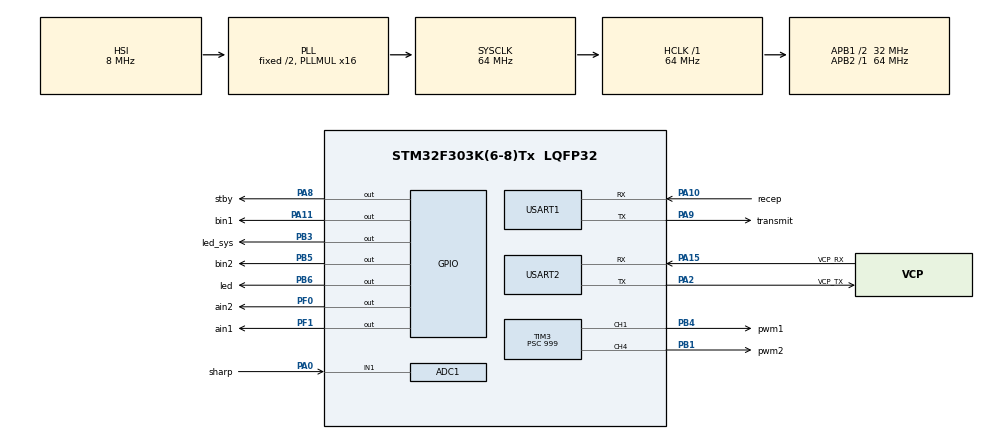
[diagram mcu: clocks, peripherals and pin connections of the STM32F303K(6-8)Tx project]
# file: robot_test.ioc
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ADC1.Channel-0\#ChannelRegularConversion=ADC_CHANNEL_1
ADC1.ClockPrescaler=ADC_CLOCK_ASYNC_DIV1
ADC1.ContinuousConvMode=DISABLE
ADC1.DMAContinuousRequests=DISABLE
ADC1.ExternalTrigConv=ADC_SOFTWARE_START
ADC1.NbrOfConversionFlag=1
ADC1.Offset-0\#ChannelRegularConversion=0
ADC1.OffsetNumber-0\#ChannelRegularConversion=ADC_OFFSET_NONE
ADC1.Rank-0\#ChannelRegularConversion=1
ADC1.SamplingTime-0\#ChannelRegularConversion=ADC_SAMPLETIME_7CYCLES_5
ADC1.SubFamily=STM32F303x8
ADC1.master=1
FREERTOS.Tasks01=defaultTask,0,128,StartDefaultTask,Default,NULL,Dynamic,NULL,NULL;motor_task,-3,256,motor,As weak,NULL,Dynamic,NULL,NULL;adc_dma_task,-3,256,adcControl,As weak,NULL,Dynamic,NULL,NULL;uart_task,-3,256,uart,As weak,NULL,Dynamic,NULL,NULL;IAtask,-3,512,ia,As weak,NULL,Dynamic,NULL,NULL
FREERTOS.configTOTAL_HEAP_SIZE=9216
Mcu.Family=STM32F3
Mcu.Name=STM32F303K(6-8)Tx
Mcu.Package=LQFP32
NVIC.ADC1_2_IRQn=true\:5\:0\:false\:false\:true\:true
NVIC.PriorityGroup=NVIC_PRIORITYGROUP_4
NVIC.TIM1_BRK_TIM15_IRQn=true\:0\:0\:false\:false\:true\:false
NVIC.TimeBase=TIM1_BRK_TIM15_IRQn
NVIC.TimeBaseIP=TIM15
PA0.GPIO_Label=sharp
PA0.Mode=IN1-Single-Ended
PA0.Signal=ADC1_IN1
PA10.GPIO_Label=recep
PA10.Mode=Asynchronous
PA10.Signal=USART1_RX
PA11.GPIO_Label=bin1
PA11.Signal=GPIO_Output
PA13.GPIO_Label=SWDIO
PA13.Signal=SYS_JTMS-SWDIO
PA14.GPIO_Label=SWCLK
PA14.Signal=SYS_JTCK-SWCLK
PA15.GPIO_Label=VCP_RX
PA15.Mode=Asynchronous
PA15.Signal=USART2_RX
PA2.GPIO_Label=VCP_TX
PA2.Mode=Asynchronous
PA2.Signal=USART2_TX
PA8.GPIO_Label=stby
PA8.Signal=GPIO_Output
PA9.GPIO_Label=transmit
PA9.Mode=Asynchronous
PA9.Signal=USART1_TX
PB1.GPIO_Label=pwm2
PB1.Signal=S_TIM3_CH4
PB3.GPIO_Label=led_sys
PB3.Signal=GPIO_Output
PB4.GPIO_Label=pwm1
PB4.Signal=S_TIM3_CH1
PB5.GPIO_Label=bin2
PB5.Signal=GPIO_Output
PB6.GPIO_Label=led
PB6.GPIO_ModeDefaultOutputPP=GPIO_MODE_OUTPUT_OD
PB6.Signal=GPIO_Output
PF0\ /\ OSC_IN.GPIO_Label=ain2
PF0\ /\ OSC_IN.Signal=GPIO_Output
PF1\ /\ OSC_OUT.GPIO_Label=ain1
PF1\ /\ OSC_OUT.Signal=GPIO_Output
ProjectManager.HeapSize=0x200
ProjectManager.StackSize=0x400
ProjectManager.TargetToolchain=Makefile
RCC.AHBFreq_Value=64000000
RCC.APB1CLKDivider=RCC_HCLK_DIV2
RCC.APB1Freq_Value=32000000
RCC.APB1TimFreq_Value=64000000
RCC.APB2Freq_Value=64000000
RCC.APB2TimFreq_Value=64000000
RCC.CortexFreq_Value=64000000
RCC.HCLKFreq_Value=64000000
RCC.HSE_VALUE=8000000
RCC.HSI_VALUE=8000000
RCC.PLLMUL=RCC_PLL_MUL16
RCC.SYSCLKFreq_VALUE=64000000
RCC.SYSCLKSourceVirtual=RCC_SYSCLKSOURCE_PLLCLK
SH.S_TIM3_CH1.0=TIM3_CH1,PWM Generation1 CH1
SH.S_TIM3_CH4.0=TIM3_CH4,PWM Generation4 CH4
TIM3.Channel-PWM\ Generation1\ CH1=TIM_CHANNEL_1
TIM3.Channel-PWM\ Generation4\ CH4=TIM_CHANNEL_4
TIM3.ClockDivision=TIM_CLOCKDIVISION_DIV1
TIM3.Period=639
TIM3.Prescaler=999
TIM3.Pulse-PWM\ Generation1\ CH1=319
TIM3.Pulse-PWM\ Generation4\ CH4=319
USART1.VirtualMode-Asynchronous=VM_ASYNC
USART2.VirtualMode-Asynchronous=VM_ASYNC
VP_FREERTOS_VS_ENABLE.Mode=Enabled
VP_SYS_VS_tim15.Mode=TIM15
board=NUCLEO-F303K8

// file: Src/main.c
/**
  ******************************************************************************
  * File Name          : main.c
  * Description        : Main program body
  ******************************************************************************
  * This notice applies to any and all portions of this file
  * that are not between comment pairs USER CODE BEGIN and
  * USER CODE END. Other portions of this file, whether
  * inserted by the user or by software development tools
  * are owned by their respective copyright owners.
  *
  * Copyright (c) 2017 STMicroelectronics International N.V.
  * All rights reserved.
  *
  * Redistribution and use in source and binary forms, with or without
  * modification, are permitted, provided that the following conditions are met:
  *
  * 1. Redistribution of source code must retain the above copyright notice,
  *    this list of conditions and the following disclaimer.
  * 2. Redistributions in binary form must reproduce the above copyright notice,
  *    this list of conditions and the following disclaimer in the documentation
  *    and/or other materials provided with the distribution.
  * 3. Neither the name of STMicroelectronics nor the names of other
  *    contributors to this software may be used to endorse or promote products
  *    derived from this software without specific written permission.
  * 4. This software, including modifications and/or derivative works of this
  *    software, must execute solely and exclusively on microcontroller or
  *    microprocessor devices manufactured by or for STMicroelectronics.
  * 5. Redistribution and use of this software other than as permitted under
  *    this license is void and will automatically terminate your rights under
  *    this license.
  *
  * THIS SOFTWARE IS PROVIDED BY STMICROELECTRONICS AND CONTRIBUTORS "AS IS"
  * AND ANY EXPRESS, IMPLIED OR STATUTORY WARRANTIES, INCLUDING, BUT NOT
  * LIMITED TO, THE IMPLIED WARRANTIES OF MERCHANTABILITY, FITNESS FOR A
  * PARTICULAR PURPOSE AND NON-INFRINGEMENT OF THIRD PARTY INTELLECTUAL PROPERTY
  * RIGHTS ARE DISCLAIMED TO THE FULLEST EXTENT PERMITTED BY LAW. IN NO EVENT
  * SHALL STMICROELECTRONICS OR CONTRIBUTORS BE LIABLE FOR ANY DIRECT, INDIRECT,
  * INCIDENTAL, SPECIAL, EXEMPLARY, OR CONSEQUENTIAL DAMAGES (INCLUDING, BUT NOT
  * LIMITED TO, PROCUREMENT OF SUBSTITUTE GOODS OR SERVICES; LOSS OF USE, DATA,
  * OR PROFITS; OR BUSINESS INTERRUPTION) HOWEVER CAUSED AND ON ANY THEORY OF
  * LIABILITY, WHETHER IN CONTRACT, STRICT LIABILITY, OR TORT (INCLUDING
  * NEGLIGENCE OR OTHERWISE) ARISING IN ANY WAY OUT OF THE USE OF THIS SOFTWARE,
  * EVEN IF ADVISED OF THE POSSIBILITY OF SUCH DAMAGE.
  *
  ******************************************************************************
  */
#include "main.h"
#include "stm32f3xx_hal.h"
#include "cmsis_os.h"

ADC_HandleTypeDef hadc1;

TIM_HandleTypeDef htim3;

UART_HandleTypeDef huart1;
UART_HandleTypeDef huart2;

osThreadId defaultTaskHandle;
osThreadId motor_taskHandle;
osThreadId adc_dma_taskHandle;
osThreadId uart_taskHandle;
osThreadId IAtaskHandle;

/* USER CODE BEGIN PV */
/* Private variables ---------------------------------------------------------*/

/* USER CODE END PV */

void SystemClock_Config(void);
static void MX_GPIO_Init(void);
static void MX_TIM3_Init(void);
static void MX_ADC1_Init(void);
static void MX_USART2_UART_Init(void);
static void MX_USART1_UART_Init(void);
void StartDefaultTask(void const * argument);
void motor(void const * argument);
void adcControl(void const * argument);
void uart(void const * argument);
void ia(void const * argument);

void HAL_TIM_MspPostInit(TIM_HandleTypeDef *htim);

/* USER CODE BEGIN PFP */
/* Private function prototypes -----------------------------------------------*/

/* USER CODE END PFP */

int main(void)
{

  /* MCU Configuration----------------------------------------------------------*/

  /* Reset of all peripherals, Initializes the Flash interface and the Systick. */
  HAL_Init();

  /* Configure the system clock */
  SystemClock_Config();

  /* Initialize all configured peripherals */
  MX_GPIO_Init();
  MX_TIM3_Init();
  MX_ADC1_Init();
  MX_USART2_UART_Init();
  MX_USART1_UART_Init();

  /* Create the thread(s) */
  /* definition and creation of defaultTask */
  osThreadDef(defaultTask, StartDefaultTask, osPriorityNormal, 0, 128);
  defaultTaskHandle = osThreadCreate(osThread(defaultTask), NULL);

  /* definition and creation of motor_task */
  osThreadDef(motor_task, motor, osPriorityIdle, 0, 256);
  motor_taskHandle = osThreadCreate(osThread(motor_task), NULL);

  /* definition and creation of adc_dma_task */
  osThreadDef(adc_dma_task, adcControl, osPriorityIdle, 0, 256);
  adc_dma_taskHandle = osThreadCreate(osThread(adc_dma_task), NULL);

  /* definition and creation of uart_task */
  osThreadDef(uart_task, uart, osPriorityIdle, 0, 256);
  uart_taskHandle = osThreadCreate(osThread(uart_task), NULL);

  /* definition and creation of IAtask */
  osThreadDef(IAtask, ia, osPriorityIdle, 0, 512);
  IAtaskHandle = osThreadCreate(osThread(IAtask), NULL);

  /* Start scheduler */
  osKernelStart();

  /* We should never get here as control is now taken by the scheduler */

  /* Infinite loop */
  while (1)
  {

  }

}

/** System Clock Configuration
*/
void SystemClock_Config(void)
{

  RCC_OscInitTypeDef RCC_OscInitStruct;
  RCC_ClkInitTypeDef RCC_ClkInitStruct;
  RCC_PeriphCLKInitTypeDef PeriphClkInit;

    /**Initializes the CPU, AHB and APB busses clocks
    */
  RCC_OscInitStruct.OscillatorType = RCC_OSCILLATORTYPE_HSI;
  RCC_OscInitStruct.HSIState = RCC_HSI_ON;
  RCC_OscInitStruct.HSICalibrationValue = 16;
  RCC_OscInitStruct.PLL.PLLState = RCC_PLL_ON;
  RCC_OscInitStruct.PLL.PLLSource = RCC_PLLSOURCE_HSI;
  RCC_OscInitStruct.PLL.PLLMUL = RCC_PLL_MUL16;
  if (HAL_RCC_OscConfig(&RCC_OscInitStruct) != HAL_OK)
  {
    _Error_Handler(__FILE__, __LINE__);
  }

    /**Initializes the CPU, AHB and APB busses clocks
    */
  RCC_ClkInitStruct.ClockType = RCC_CLOCKTYPE_HCLK|RCC_CLOCKTYPE_SYSCLK
                              |RCC_CLOCKTYPE_PCLK1|RCC_CLOCKTYPE_PCLK2;
  RCC_ClkInitStruct.SYSCLKSource = RCC_SYSCLKSOURCE_PLLCLK;
  RCC_ClkInitStruct.AHBCLKDivider = RCC_SYSCLK_DIV1;
  RCC_ClkInitStruct.APB1CLKDivider = RCC_HCLK_DIV2;
  RCC_ClkInitStruct.APB2CLKDivider = RCC_HCLK_DIV1;

  if (HAL_RCC_ClockConfig(&RCC_ClkInitStruct, FLASH_LATENCY_2) != HAL_OK)
  {
    _Error_Handler(__FILE__, __LINE__);
  }

  PeriphClkInit.PeriphClockSelection = RCC_PERIPHCLK_USART1|RCC_PERIPHCLK_ADC12;
  PeriphClkInit.Usart1ClockSelection = RCC_USART1CLKSOURCE_PCLK1;
  PeriphClkInit.Adc12ClockSelection = RCC_ADC12PLLCLK_DIV1;
  if (HAL_RCCEx_PeriphCLKConfig(&PeriphClkInit) != HAL_OK)
  {
    _Error_Handler(__FILE__, __LINE__);
  }

    /**Configure the Systick interrupt time
    */
  HAL_SYSTICK_Config(HAL_RCC_GetHCLKFreq()/1000);

    /**Configure the Systick
    */
  HAL_SYSTICK_CLKSourceConfig(SYSTICK_CLKSOURCE_HCLK);

  /* SysTick_IRQn interrupt configuration */
  HAL_NVIC_SetPriority(SysTick_IRQn, 15, 0);
}

/* ADC1 init function */
static void MX_ADC1_Init(void)
{

  ADC_MultiModeTypeDef multimode;
  ADC_ChannelConfTypeDef sConfig;

    /**Common config
    */
  hadc1.Instance = ADC1;
  hadc1.Init.ClockPrescaler = ADC_CLOCK_ASYNC_DIV1;
  hadc1.Init.Resolution = ADC_RESOLUTION_12B;
  hadc1.Init.ScanConvMode = ADC_SCAN_DISABLE;
  hadc1.Init.ContinuousConvMode = DISABLE;
  hadc1.Init.DiscontinuousConvMode = DISABLE;
  hadc1.Init.ExternalTrigConvEdge = ADC_EXTERNALTRIGCONVEDGE_NONE;
  hadc1.Init.ExternalTrigConv = ADC_SOFTWARE_START;
  hadc1.Init.DataAlign = ADC_DATAALIGN_RIGHT;
  hadc1.Init.NbrOfConversion = 1;
  hadc1.Init.DMAContinuousRequests = DISABLE;
  hadc1.Init.EOCSelection = ADC_EOC_SINGLE_CONV;
  hadc1.Init.LowPowerAutoWait = DISABLE;
  hadc1.Init.Overrun = ADC_OVR_DATA_OVERWRITTEN;
  if (HAL_ADC_Init(&hadc1) != HAL_OK)
  {
    _Error_Handler(__FILE__, __LINE__);
  }

    /**Configure the ADC multi-mode
    */
  multimode.Mode = ADC_MODE_INDEPENDENT;
  if (HAL_ADCEx_MultiModeConfigChannel(&hadc1, &multimode) != HAL_OK)
  {
    _Error_Handler(__FILE__, __LINE__);
  }

    /**Configure Regular Channel
    */
  sConfig.Channel = ADC_CHANNEL_1;
  sConfig.Rank = 1;
  sConfig.SingleDiff = ADC_SINGLE_ENDED;
  sConfig.SamplingTime = ADC_SAMPLETIME_7CYCLES_5;
  sConfig.OffsetNumber = ADC_OFFSET_NONE;
  sConfig.Offset = 0;
  if (HAL_ADC_ConfigChannel(&hadc1, &sConfig) != HAL_OK)
  {
    _Error_Handler(__FILE__, __LINE__);
  }

}

/* TIM3 init function */
static void MX_TIM3_Init(void)
{

  TIM_MasterConfigTypeDef sMasterConfig;
  TIM_OC_InitTypeDef sConfigOC;

  htim3.Instance = TIM3;
  htim3.Init.Prescaler = 999;
  htim3.Init.CounterMode = TIM_COUNTERMODE_UP;
  htim3.Init.Period = 639;
  htim3.Init.ClockDivision = TIM_CLOCKDIVISION_DIV1;
  htim3.Init.AutoReloadPreload = TIM_AUTORELOAD_PRELOAD_DISABLE;
  if (HAL_TIM_PWM_Init(&htim3) != HAL_OK)
  {
    _Error_Handler(__FILE__, __LINE__);
  }

  sMasterConfig.MasterOutputTrigger = TIM_TRGO_RESET;
  sMasterConfig.MasterSlaveMode = TIM_MASTERSLAVEMODE_DISABLE;
  if (HAL_TIMEx_MasterConfigSynchronization(&htim3, &sMasterConfig) != HAL_OK)
  {
    _Error_Handler(__FILE__, __LINE__);
  }

  sConfigOC.OCMode = TIM_OCMODE_PWM1;
  sConfigOC.Pulse = 319;
  sConfigOC.OCPolarity = TIM_OCPOLARITY_HIGH;
  sConfigOC.OCFastMode = TIM_OCFAST_DISABLE;
  if (HAL_TIM_PWM_ConfigChannel(&htim3, &sConfigOC, TIM_CHANNEL_1) != HAL_OK)
  {
    _Error_Handler(__FILE__, __LINE__);
  }

  if (HAL_TIM_PWM_ConfigChannel(&htim3, &sConfigOC, TIM_CHANNEL_4) != HAL_OK)
  {
    _Error_Handler(__FILE__, __LINE__);
  }

  HAL_TIM_MspPostInit(&htim3);

}

/* USART1 init function */
static void MX_USART1_UART_Init(void)
{

  huart1.Instance = USART1;
  huart1.Init.BaudRate = 38400;
  huart1.Init.WordLength = UART_WORDLENGTH_7B;
  huart1.Init.StopBits = UART_STOPBITS_1;
  huart1.Init.Parity = UART_PARITY_NONE;
  huart1.Init.Mode = UART_MODE_TX_RX;
  huart1.Init.HwFlowCtl = UART_HWCONTROL_NONE;
  huart1.Init.OverSampling = UART_OVERSAMPLING_16;
  huart1.Init.OneBitSampling = UART_ONE_BIT_SAMPLE_DISABLE;
  huart1.AdvancedInit.AdvFeatureInit = UART_ADVFEATURE_NO_INIT;
  if (HAL_UART_Init(&huart1) != HAL_OK)
  {
    _Error_Handler(__FILE__, __LINE__);
  }

}

/* USART2 init function */
static void MX_USART2_UART_Init(void)
{

  huart2.Instance = USART2;
  huart2.Init.BaudRate = 38400;
  huart2.Init.StopBits = UART_STOPBITS_1;
  huart2.Init.Parity = UART_PARITY_NONE;
  huart2.Init.Mode = UART_MODE_TX_RX;
  huart2.Init.HwFlowCtl = UART_HWCONTROL_NONE;
  huart2.Init.OverSampling = UART_OVERSAMPLING_16;
  huart2.Init.OneBitSampling = UART_ONE_BIT_SAMPLE_DISABLE;
  huart2.AdvancedInit.AdvFeatureInit = UART_ADVFEATURE_NO_INIT;
  if (HAL_UART_Init(&huart2) != HAL_OK)
  {
    _Error_Handler(__FILE__, __LINE__);
  }

}

/** Configure pins as
        * Analog
        * Input
        * Output
        * EVENT_OUT
        * EXTI
*/
static void MX_GPIO_Init(void)
{

  GPIO_InitTypeDef GPIO_InitStruct;

  /* GPIO Ports Clock Enable */
  __HAL_RCC_GPIOF_CLK_ENABLE();
  __HAL_RCC_GPIOA_CLK_ENABLE();
  __HAL_RCC_GPIOB_CLK_ENABLE();

  /*Configure GPIO pin Output Level */
  HAL_GPIO_WritePin(GPIOF, ain2_Pin|ain1_Pin, GPIO_PIN_RESET);

  /*Configure GPIO pin Output Level */
  HAL_GPIO_WritePin(GPIOA, stby_Pin|bin1_Pin, GPIO_PIN_RESET);

  /*Configure GPIO pin Output Level */
  HAL_GPIO_WritePin(GPIOB, led_sys_Pin|bin2_Pin|led_Pin, GPIO_PIN_RESET);

  /*Configure GPIO pins : ain2_Pin ain1_Pin */
  GPIO_InitStruct.Pin = ain2_Pin|ain1_Pin;
  GPIO_InitStruct.Mode = GPIO_MODE_OUTPUT_PP;
  GPIO_InitStruct.Pull = GPIO_NOPULL;
  GPIO_InitStruct.Speed = GPIO_SPEED_FREQ_LOW;
  HAL_GPIO_Init(GPIOF, &GPIO_InitStruct);

  /*Configure GPIO pins : stby_Pin bin1_Pin */
  GPIO_InitStruct.Pin = stby_Pin|bin1_Pin;
  GPIO_InitStruct.Mode = GPIO_MODE_OUTPUT_PP;
  GPIO_InitStruct.Pull = GPIO_NOPULL;
  GPIO_InitStruct.Speed = GPIO_SPEED_FREQ_LOW;
  HAL_GPIO_Init(GPIOA, &GPIO_InitStruct);

  /*Configure GPIO pins : led_sys_Pin bin2_Pin */
  GPIO_InitStruct.Pin = led_sys_Pin|bin2_Pin;
  GPIO_InitStruct.Mode = GPIO_MODE_OUTPUT_PP;
  GPIO_InitStruct.Pull = GPIO_NOPULL;
  GPIO_InitStruct.Speed = GPIO_SPEED_FREQ_LOW;
  HAL_GPIO_Init(GPIOB, &GPIO_InitStruct);

  /*Configure GPIO pin : led_Pin */
  GPIO_InitStruct.Pin = led_Pin;
  GPIO_InitStruct.Mode = GPIO_MODE_OUTPUT_OD;
  GPIO_InitStruct.Pull = GPIO_NOPULL;
  GPIO_InitStruct.Speed = GPIO_SPEED_FREQ_LOW;
  HAL_GPIO_Init(led_GPIO_Port, &GPIO_InitStruct);

}

/* StartDefaultTask function */
void StartDefaultTask(void const * argument)
{

  /* USER CODE BEGIN 5 */
  /* Infinite loop */
  for(;;)
  {
    HAL_GPIO_TogglePin(led_sys_GPIO_Port, led_sys_Pin);
    osDelay(1000);
  }
  /* USER CODE END 5 */
}

/* motor function */
__weak void motor(void const * argument)
{
  for(;;)
  {
    osDelay(1);
  }
}

/* adcControl function */
__weak void adcControl(void const * argument)
{
  for(;;)
  {
    osDelay(1);
  }
}

/* uart function */
__weak void uart(void const * argument)
{
  for(;;)
  {
    osDelay(1);
  }
}

/* ia function */
__weak void ia(void const * argument)
{
  for(;;)
  {
    osDelay(1);
  }
}

void HAL_TIM_PeriodElapsedCallback(TIM_HandleTypeDef *htim)
{
  if (htim->Instance == TIM15) {
    HAL_IncTick();
  }
}

void _Error_Handler(char * file, int line)
{
  while(1)
  {
  }
}

/************************ (C) COPYRIGHT STMicroelectronics *****END OF FILE****/

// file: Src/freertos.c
/**
  ******************************************************************************
  * File Name          : freertos.c
  * Description        : Code for freertos applications
  ******************************************************************************
  * This notice applies to any and all portions of this file
  * that are not between comment pairs USER CODE BEGIN and
  * USER CODE END. Other portions of this file, whether
  * inserted by the user or by software development tools
  * are owned by their respective copyright owners.
  *
  * Copyright (c) 2017 STMicroelectronics International N.V.
  * All rights reserved.
  *
  * Redistribution and use in source and binary forms, with or without
  * modification, are permitted, provided that the following conditions are met:
  *
  * 1. Redistribution of source code must retain the above copyright notice,
  *    this list of conditions and the following disclaimer.
  * 2. Redistributions in binary form must reproduce the above copyright notice,
  *    this list of conditions and the following disclaimer in the documentation
  *    and/or other materials provided with the distribution.
  * 3. Neither the name of STMicroelectronics nor the names of other
  *    contributors to this software may be used to endorse or promote products
  *    derived from this software without specific written permission.
  * 4. This software, including modifications and/or derivative works of this
  *    software, must execute solely and exclusively on microcontroller or
  *    microprocessor devices manufactured by or for STMicroelectronics.
  * 5. Redistribution and use of this software other than as permitted under
  *    this license is void and will automatically terminate your rights under
  *    this license.
  *
  * THIS SOFTWARE IS PROVIDED BY STMICROELECTRONICS AND CONTRIBUTORS "AS IS"
  * AND ANY EXPRESS, IMPLIED OR STATUTORY WARRANTIES, INCLUDING, BUT NOT
  * LIMITED TO, THE IMPLIED WARRANTIES OF MERCHANTABILITY, FITNESS FOR A
  * PARTICULAR PURPOSE AND NON-INFRINGEMENT OF THIRD PARTY INTELLECTUAL PROPERTY
  * RIGHTS ARE DISCLAIMED TO THE FULLEST EXTENT PERMITTED BY LAW. IN NO EVENT
  * SHALL STMICROELECTRONICS OR CONTRIBUTORS BE LIABLE FOR ANY DIRECT, INDIRECT,
  * INCIDENTAL, SPECIAL, EXEMPLARY, OR CONSEQUENTIAL DAMAGES (INCLUDING, BUT NOT
  * LIMITED TO, PROCUREMENT OF SUBSTITUTE GOODS OR SERVICES; LOSS OF USE, DATA,
  * OR PROFITS; OR BUSINESS INTERRUPTION) HOWEVER CAUSED AND ON ANY THEORY OF
  * LIABILITY, WHETHER IN CONTRACT, STRICT LIABILITY, OR TORT (INCLUDING
  * NEGLIGENCE OR OTHERWISE) ARISING IN ANY WAY OUT OF THE USE OF THIS SOFTWARE,
  * EVEN IF ADVISED OF THE POSSIBILITY OF SUCH DAMAGE.
  *
  ******************************************************************************
  */

/**
 * *********************************************************************
 * Auteurs : Daphné Porteries, Victor Cazaux et Thibault Vernay
 * Date de création : 12 juin 2017
 * Date de dernière modification : 25 juin 2017
 * *********************************************************************
 */

#include "FreeRTOS.h"
#include "task.h"

/* USER CODE BEGIN Includes */
#include "cmsis_os.h"
#include "main.h"
#include "stm32f3xx_hal.h"

#include <time.h>
#include <stdlib.h>

#define PWM_MAX 320
#define DELAY 1000
#define OK 0x06
/* USER CODE END Includes */

/* USER CODE BEGIN Variables */
extern TIM_HandleTypeDef htim3;
extern ADC_HandleTypeDef hadc1;
extern UART_HandleTypeDef huart2;
extern UART_HandleTypeDef huart1;

int flag_adc = 0;
uint32_t adcValue = 0;

int flag_deplacement_fini = 0;
int flag_rotation_finie =0;

int flag_haut = 0;
int flag_bas = 0;
int flag_droite = 0;
int flag_gauche = 0;
int flag_distance = 0;
int flag_cap =0;
int flag_present = 0;

struct Robot {
    int posx;
    int posy;
    int orientation;
};

struct Robot robot1, robot2; // Nous sommes robot1 et l'autre robot est  robot2

/* USER CODE END Variables */

/* USER CODE BEGIN FunctionPrototypes */

/* BEGIN Fonctions pour les moteurs */

/* Cette fonction permet d'allumer le moteur gauche. Elle prend en argument la variable sens qui est à 1 quand
 * le moteur avance et à 0 quand celui-ci recule. Voir la datasheet du driver moteur pour les valeurs de ain1
 * et ain2 */
void alumer_gauche(int sens) {
    HAL_GPIO_WritePin(ain1_GPIO_Port, ain1_Pin, sens);
    HAL_GPIO_WritePin(ain2_GPIO_Port, ain2_Pin, !sens);
}

/* Cette fonction permet d'allumer le moteur droit. Elle prend en argument la variable sens qui est à 1 quand
 * le moteur avance et à 0 quand celui-ci recule. Voir la datasheet du driver moteur pour les valeurs de ain1
 * et ain2 */
void alumer_droite(int sens) {
    HAL_GPIO_WritePin(bin1_GPIO_Port, bin1_Pin, sens);
    HAL_GPIO_WritePin(bin2_GPIO_Port, bin2_Pin, !sens);
}

/* Cette fonction permet d'éteindre le moteur gauche. */
void eteindre_gauche() {
    HAL_GPIO_WritePin(ain1_GPIO_Port, ain1_Pin, 0);
    HAL_GPIO_WritePin(ain2_GPIO_Port, ain2_Pin, 0);
}

/* Cette fonction permet d'éteindre le moteur droit. */
void eteindre_droite() {
    HAL_GPIO_WritePin(bin1_GPIO_Port, bin1_Pin, 0);
    HAL_GPIO_WritePin(bin2_GPIO_Port, bin2_Pin, 0);
}

/* Cette fonction permet de mettre au max décidé dans l'entête la valeur du rapport PWM. Elle fait appel à des
 * fonctions de la HAL qui permettent de changer la valeur du CCR pour le timer3. */
void pwm_max() {
    __HAL_TIM_SET_COMPARE(&htim3, TIM_CHANNEL_1, PWM_MAX);
    __HAL_TIM_SET_COMPARE(&htim3, TIM_CHANNEL_4, PWM_MAX);
}

/* Cette fonction permet de changer la valeur du CCR du timer3 pour changer le rapport du PWM avec une temporisation
 * pour le faire s'incrémenter jusqu'à la valeur finale définie dans l'entête du fichier. */
void accelerer() {
    int pwm = 0;
    while (pwm != PWM_MAX) {
        __HAL_TIM_SET_COMPARE(&htim3, TIM_CHANNEL_1, pwm);
        __HAL_TIM_SET_COMPARE(&htim3, TIM_CHANNEL_4, pwm);
        pwm += 20;
        osDelay(50);
    }
}

/* Cette fonction permet de changer la valeur du CCR du timer3 pour changer le rapport du PWM avec une temporisation
 * pour le faire se décrémenter jusqu'à 0 et provoquer l'arrêt du moteur. */
void deccelerer() {
    int pwm = PWM_MAX;
    while (pwm != 0) {
        __HAL_TIM_SET_COMPARE(&htim3, TIM_CHANNEL_1, pwm);
        __HAL_TIM_SET_COMPARE(&htim3, TIM_CHANNEL_4, pwm);
        pwm -= 20;
        osDelay(50);
    }
}

/* Cette fonction permet d'avancer de 15 cm. Les paramètres de temporisation sont différents selons les robots. Elle
 * utilise les fonctions allumer et éteindre ainsi que les fonctions d'accélérations et de décélération avant d'éteindre
 * les moteurs. */
void avancer_robot() {
    // sens est à 1 pour avancer
    alumer_droite(1);
    alumer_gauche(1);
    accelerer();
    osDelay(470); // robot2 : 470 robot1 : 850
    deccelerer();
    eteindre_droite();
    eteindre_gauche();
}

/* Cette fonction permet de reculer de 15 cm. Les paramètres de temporisation sont différents selons les robots. Elle
 * utilise les fonctions allumer et éteindre ainsi que les fonctions d'accélérations et de décélération avant d'éteindre
 * les moteurs. */
void reculer_robot() {
    // sens est à 0 pour reculer
    alumer_droite(0);
    alumer_gauche(0);
    accelerer();
    osDelay(470); // robot2 : 470 robot1 : 850
    deccelerer();
    eteindre_droite();
    eteindre_gauche();
}

/* Cette fonction permet de pivoter à gauche de 90°. Les temporisation changent d'un robot à l'autre et ici on met le
 * rapport du PWM au max avant d'effectuer la routine, de décélérer et de le remettre à 0 avant d'éteindre les moteurs. */
void pivoter_gauche() {
    pwm_max();
    alumer_gauche(1);
    alumer_droite(0);
    osDelay(40); // robot2 : 40 robot1 : 130
    deccelerer();
    eteindre_droite();
    eteindre_gauche();
}

/* Cette fonction permet de pivoter à droite de 90°. Les temporisation changent d'un robot à l'autre et ici on met le
 * rapport du PWM au max avant d'effectuer la routine, de décélérer et de le remettre à 0 avant d'éteindre les moteurs. */
void pivoter_droite() {
    pwm_max();
    alumer_droite(1);
    alumer_gauche(0);
    osDelay(40); // robot2 : 40 robot1 : 130
    deccelerer();
    eteindre_droite();
    eteindre_gauche();
}

/* Cette fonction permet en fonction de la valeur des indicateurs d'état flag_cap et flag_distance de définir les déplacements
 * à effectuer et de décrémenter cette valeur. Elle permet également quand tous les déplacements et changements de cap sont finis
 * de mettre l'indicateur d'état flag_deplacement_fini à 1. */
void gestion_moteurs() {
    if (flag_distance > 0) {
      avancer_robot();
      flag_distance --;
    }
    if (flag_distance < 0) {
      reculer_robot();
      flag_distance ++;
    }
    if(flag_distance == 0){
      flag_deplacement_fini = 1;
    }
    if (flag_cap > 0) {
      pivoter_droite();
      flag_cap --;
    }
    if (flag_cap < 0) {
      pivoter_gauche();
      flag_cap ++;
    }
    if(flag_cap == 0){
      flag_rotation_finie = 1;
    }
}

/* END Fonctions pour les moteurs */

/* BEGIN Fonctions ADC */

/* Cette fonction est la fonction d'interruption de l'ADC, elle permet de mettre l'indicateur
 * d'état flag_adc à 1 et à récupérer la valeur de l'ADC */
void HAL_ADC_ConvCpltCallback(ADC_HandleTypeDef *hadc) {
    UNUSED(hadc);
    adcValue = HAL_ADC_GetValue(hadc);
    flag_adc = 1;
}

/* Cette fonction est utile pour la fonction printf su l'UART2 (UART connecté au PC) écrire
 * facilement les valeurs numériques sur cet UART */
int _write(int file, char *ptr, int len) {
    UNUSED(file);

    HAL_UART_Transmit(&huart2, (uint8_t *) ptr, (uint16_t) len, 10000);
    return len;
}

/* Cette fonction est un étalonnage de l'ADC, il permet d'associer une distance à la valeur
 * de retour de l'ADC. Les valeurs sont des fourchettes, l'ADC ayant un retour qui fluctue
 * autour d'une distance. */
int distance() {
    int value = 0;
    if (adcValue >= 3800) {
        value = 6;
    }
    if (adcValue >= 3750 && adcValue < 3800) {
        value = 7;
    }
    if (adcValue >= 3430 && adcValue < 3750) {
        value = 8;
    }
    if (adcValue >= 3140 && adcValue < 3420) {
        value = 9;
    }
    if (adcValue >= 2880 && adcValue < 3140) {
        value = 10;
    }
    if (adcValue >= 2690 && adcValue < 2880) {
        value = 11;
    }
    if (adcValue >= 2510 && adcValue < 2690) {
        value = 12;
    }
    if (adcValue >= 2460 && adcValue < 2510) {
        value = 13;
    }
    if (adcValue >= 2250 && adcValue < 2460) {
        value = 14;
    }
    if (adcValue >= 2140 && adcValue < 2250) {
        value = 15;
    }
    if (adcValue >= 2070 && adcValue < 2140) {
        value = 16;
    }
    if (adcValue >= 1970 && adcValue < 2070) {
        value = 17;
    }
    if (adcValue >= 1910 && adcValue < 1970) {
        value = 18;
    }
    if (adcValue >= 1850 && adcValue < 1910) {
        value = 19;
    }
    if (adcValue >= 1780 && adcValue < 1850) {
        value = 20;
    }
    return(value);
}

/* Cette fonction permet de définir pour quelle distance on considère qu'un objet est présent devant le
 * capteur et met l'indicateur d'état flag_present à 1 si c'est le cas. Il le remet à 0 dans le cas
 * contraire. */
void estPresent() {
    int value;
    value = distance();
    if (value != 0 && value <= 20) {
        flag_present = 1;
    }
    else{
        flag_present = 0;
    }
}

/* END Fonctions ADC */

/* BEGIN Fonctions UART */

/* Cette fonction prend en argument le message à transmettre et met en place la sécurisation par la
 * méthode de XOR entre les bits et transmet trois octets avec la sécurisation. */
    void EnvoiMessage(uint8_t data){
        uint8_t eun, b, edeux, equatre, ehuit,eseize, etrentedeux, esoixantequatre, ecentvingthuit, k, z;

        eun = (data & 0x01); /*MASK pour récupérer la valeur de chanque bit */
        edeux = (data & 0x02)/2;
        equatre =(data & 0x04)/4;
        ehuit = (data & 0x08)/8;
        eseize = (data & 0x10)/16;
        etrentedeux = (data & 0x20)/32;
        esoixantequatre = (data & 0x40)/64;
        ecentvingthuit = (data & 0x80)/128;

        /*Mise en place des XOR et des 3 paquets*/
        b =  (ecentvingthuit^etrentedeux)*32 + (ecentvingthuit^esoixantequatre)*16 + (esoixantequatre^etrentedeux)*8 +ecentvingthuit*4 + esoixantequatre*2 + etrentedeux;
        k = (eseize^equatre)*32 +  (eseize^ehuit)*16 + (ehuit^equatre)*8 + eseize*4  + ehuit*2 + equatre;
        z = (0^eun)*32 + (0^edeux)*16 + (eun^edeux)*8 +edeux*2  + eun;

        /*Envoi des paquets */
        HAL_UART_Transmit(&huart1, &b, sizeof(data), 0xEEEE);
        osDelay(2);
        HAL_UART_Transmit(&huart1, &k, sizeof(data), 0xEEEE);
        osDelay(2);
        HAL_UART_Transmit(&huart1, &z, sizeof(data), 0xEEEE);
        osDelay(2);
    }

/* Cette fonction ne prend pas d'arguments, elle récupère les trois octets qui sont transmis par l'autre
 * robot, vérifie la sécurisation et extrait les données pour refaire l'octet original. */
    int ReceptionMessage(){
        uint8_t r, m, n, v, run, rdeux, rquatre, rhuit, rseize, rtrentedeux, ok, i;
        uint8_t rec[3];

        /*Récupération des messages*/
        HAL_UART_Receive(&huart1, &r, sizeof(uint8_t), 0xEEEE);
        HAL_UART_Receive(&huart1, &m, sizeof(uint8_t), 0xEEEE);
        HAL_UART_Receive(&huart1, &n, sizeof(uint8_t), 0xEEEE);

        rec[0] = r;
        rec[1] = m;
        rec[2] = n;
        ok = 1;
        for (i =0; i<3; i++) { /*MASK pour récupérer chaque bit*/
            run = (rec[i] & 0x01);
            rdeux = (rec[i] & 0x02)/2;
            rquatre =(rec[i] & 0x04)/4;
            rhuit = (rec[i] & 0x08)/8;
            rseize = (rec[i] & 0x10)/16;
            rtrentedeux = (rec[i] & 0x20)/32;
            if ((run^rdeux) != rhuit) ok =0;
            if ((rdeux^rquatre) != rseize) ok =0;
            if ((rquatre^run) != rtrentedeux) ok = 0;
        }
        r =  (r & 0x07)*32;
        m =  (m & 0x07)*4;
        n =  (n & 0x07);

        /*Recréation message original*/
        v =  r + m + n;
        if (ok == 1) {
            for (i = 0; i<5; i++)
            {
                /* Indicateur visuel pour la réception */
                HAL_GPIO_TogglePin(led_GPIO_Port, led_Pin);
                osDelay(500);
            }
            return(v);
        }
        else return(0);
    }

    /* Cette fonction récupère la position et la stocke dans la structure robot correspondante */
    void recoitpos(){
        uint8_t a, x, y, c;
        a = ReceptionMessage();
        x = a & 0xF0;
        y = a & 0x0F;
        c = ReceptionMessage();
        robot2.posx = x;
        robot2.posy = y;
        robot2.orientation = c;
    }

    /* Cette fonction envoie deux octets, un contenant à la fois la position x et y et l'autre contenant l'orientation. */
    void envoipos(uint8_t x, uint8_t y , uint8_t c){
         x = x*16 + y;
         EnvoiMessage(x);
         EnvoiMessage(c);
    }

    /* Cette fonction sert à affecter à chaque message reçu un comportement, pour le moment pas tous les messages
     * ont un comportement associé. */
    void Traduction(uint8_t msg){
        if (msg == 0x05) {
           envoipos(robot1.posx, robot1.posy, robot1.orientation);
        }

        if (msg == 0x06) {

        }

        if (msg == 0x07) {
            flag_haut = 1;
        }

        if (msg == 0x08) {
            flag_bas = 1;
        }

        if (msg == 0x09) {
            flag_droite = 1;
        }

        if (msg == 0x0A) {
            flag_gauche = 1;
        }

        if (msg == 0x0B) {
        }

        if (msg == 0x0C) {
        }

        if (msg == 0x0D) {
            uint8_t a;
            srand(time(NULL));
            a = rand()%100;
            EnvoiMessage(a);
        }

        if (msg == 0x10) {
        }

        if (msg == 0x11) {
        }

        if (msg == 0x12) {
        }

        if (msg == 0x13) {
        }
    }

    /* Attend de reçevoir un certain message fournit en argument */
    void WaitFor(uint8_t z) {
        while (z != ReceptionMessage()) ;
    }

    /* Les fonctions suivantes sont des fonctions avec un nom explicite pour l'IA permettant d'envoyer le
     * message correspondant. */
    void TaPosition() {
        EnvoiMessage(0x05);
    }

    void ok() {
        EnvoiMessage(0x06);
    }

    void Monte() {
        EnvoiMessage(0x07);
        WaitFor(0x06);
    }

    void Descend() {
        EnvoiMessage(0x08);
        WaitFor(0x06);
    }

    void Droite() {
        EnvoiMessage(0x09);
        WaitFor(0x06);
    }

    void Gauche() {
        EnvoiMessage(0x0A);
        WaitFor(0x06);
    }

    void DansUnCoin() {
        EnvoiMessage(0x0B);
    }

    void Trouve() {
        EnvoiMessage(0x0C);
    }

    /* Cette fonction particulière se démarque des autres. Elle permet de définir qui devient le maître dans les
     * décisions, le tirage aléatoire donne la priorité à celui qui a le plus grand nombre. Cette fonction renvoie
     un indicateur p permettant de savoir si on a gagné le tir ou pas. */
    int Random() {
        int a, p;
        EnvoiMessage(0x0D);
        srand(time(NULL));
        a = rand()%256;
        if (ReceptionMessage() < a) {
            p = 1;
            EnvoiMessage(0x50);
        }
        else {
            p = 0;
            EnvoiMessage(0x67);
        }
        return(p);
    }

    void Non(){
        EnvoiMessage(0x10);
    }

    void MemeCase() {
        EnvoiMessage(0x12);
    }

    void TuEsCoin(){
    EnvoiMessage(0x13);
}
/* END Fonctions UART */

/* BEGIN Fonctions IA */

/* Permet la gestion des déplacements dans la tache IA, elle prend deux arguments,
 * une distance et un cap dont au moins un des deux est nul. Elle modifie les flags
 * rotation_distance et cap, rotation_finie et deplacement_fini.
 * Une distance positive signifie que l'on souhaite avancer, une distance négative signifie que l'on souhaite reculer
 * Une cap positif indique un pivot à droite, un cpa négatif un pivot à gauche */
void deplacement(int distance, int cap)
{
  if(cap == 0)//si l'on souhaite modifier la distance, l'argument cap est alors nul
  {
      while(flag_rotation_finie != 1);//On attent que le flag_rotation_finie sont à 0, donc que le robot ne pivote plus
      flag_deplacement_fini = 0;//On remet le flag_deplacement_fini à 0 car on va ordoner un nouveau déplacement
      flag_distance += distance;//On incrémente le flag_distance du nombre de case que l'on souhaite avancer
  }

  if(distance == 0)//si l'on souhaite modifier le cap, l'argument distance est alors nul
  {
      while(flag_deplacement_fini != 1);//on vérifie que l'on avance plus avant d'ordoner une rotation
      flag_rotation_finie = 0;//on met remet le flag_rotation_finie à 0 car on va de nouveau pivoter
      flag_cap += cap;//on incrémente le cap d'autant de quart de tour que l'on souhaite faire
  }
}

/*Fonction de test et de démonstration de la communication, elle ne prend aucun arguments
 *Cette fonction diffèrent légèrement d'un robot à l'autre car/ il faut que l'un des deux initie la manoeuvre
 *Le premier robot scrute la présence d'un message "OK" le canal de communication, ce message signifiant que
 * l'action a été effectué avec succès.
 * Le second robot avance puis emet un message OK à la fin de son déplacement.
 * Ensuite les rôles s'inverse et l'on fait la même manoeuvre mais en reculant afin de revenir aux positions initiales*/
void test_communication()
{
    WaitFor(OK);//uniquement le robot 1

    /*première partie de la manoeuvre*/

    deplacement(1,0);//on avance d'une case
    while(flag_deplacement_fini != 1)//On attent la fin du deplacement avant d'envoyer le message
    {
        osDelay(1000);
    }

    /* Echanges de message OK*/

    ok();//uniquement le robot 1
    WaitFor(OK);//uniquement le robot 1

    WaitFor(OK);//uniquement le robot 2
    ok();//uniquement le robot 2

    /*seconde partie de la manoeuvre*/

    deplacement(-1,0);
    while(flag_deplacement_fini != 1)//on attent la fin de second déplacement avant de finir la fonction
    {
        osDelay(1000);
    }
}

/* Cette fonction est une fonction de démonstration visant à évaluer la présision de déplacements et rotation
 * si les déplacements du robot sont précis et correctement réglés le robot devrait revenir sur sa position initiale
 * Cette fonction ne prend aucun argument, appelle la fonction deplacement et modifie directement la valeur du
 * flag_deplacement_fini;
 * Le robot dessine un carré au sol en avançant puis pivotant quatre fois
 * Il est possible d'appeler plusieurs fois cette fonction pour observer la dérive au bout d'un plus grand nombre de
 *  déplacements*/
void carre(){
    int i =0;
    for(i=0; i<4; i++)
    {
        deplacement(1,0);
        while(flag_deplacement_fini != 1)
        {
            osDelay(1000);
        }

        deplacement(0,1);
        while(flag_deplacement_fini != 1)
        {
            osDelay(1000);
        }
    }
}

/*Cette fonction ne prend aucun argument, fais appel à la fonction avancer_robot, utilise la valeur du flag_present
 * et modifie la valeur des flags distance et deplacement_fini
 * Suite à l'appel de cette fonction le robot avance jusqu'à ce que le capteur unidirectionel signale une présence.*/
void avance_bloque()
{
    while(!flag_present)
    {
        avancer_robot();
    }
    flag_distance = 0;
    flag_deplacement_fini = 1;
}

/*Cette fonction ne prend pas d'argument, elle n'est pas finie d'être developée non plus
 * le but final étant de mener le robot dans un des quatre coin du terrain, pour l'instant le robot avance jusqu'à
 * detecter une presence et puis tourne à droite. Par la suite cette fonction ferait appel à une autre qui testerai
 * si le robot est dans un coin ou non.*/
void test(){
    for(;;)//la fonction est composée d'une boucle infinie
    {
        avance_block();//faisant avancer le robot jusqu'à ce qu'il détecte une présence
        pivoter_droite();//puis le fais pivoter à droite
    }
}

/* END Fonctions IA */

/* USER CODE END FunctionPrototypes */

/* Hook prototypes */

/* USER CODE BEGIN Application */
void motor(void const * argument)
{
  /* USER CODE BEGIN motor */
  UNUSED(argument);

  HAL_GPIO_WritePin(stby_GPIO_Port, stby_Pin, 1);
  HAL_TIM_Base_Start(&htim3);
  HAL_TIM_PWM_Start(&htim3, TIM_CHANNEL_1);
  HAL_TIM_PWM_Start(&htim3, TIM_CHANNEL_4);

  /* Infinite loop */
  for(;;)
  {
    gestion_moteurs();
  }
  /* USER CODE END motor */
}

void adcControl(void const * argument){
  /* USER CODE BEGIN adcControl */
  /* Infinite loop */
for(;;)
 {
   HAL_ADC_Start_IT(&hadc1);
   estPresent();
 }
}  /* USER CODE END adcControl */

void uart(void const * argument)
{
  /* USER CODE BEGIN uart */
  /* Infinite loop */
  for(;;)
  {

    //pivoter_droite();
    //ok();
    //WaitFor(OK);

   /* WaitFor(OK);
    pivoter_droite();
    ok();

    osDelay(1);*/
  }
  /* USER CODE END uart */
}

/*le code ia fait pour l'instant appel aux fonctions de démonstration écrites plus haut et devrait à terme
 * enchainer des routines
 * aller dans un coin
 * vérifier sa position et celle du coéquipier
 * définir d'un point de rendez-vous
 * se rendre au point de rendez-vous
 * réaliser l'action finale */
void ia(void const * argument)
{
  /* USER CODE BEGIN ia */
  /* Infinite loop */

    //écrire les appels de fonction ici
}
  /* USER CODE END ia */

/* USER CODE END Application */

/************************ (C) COPYRIGHT STMicroelectronics *****END OF FILE****/
